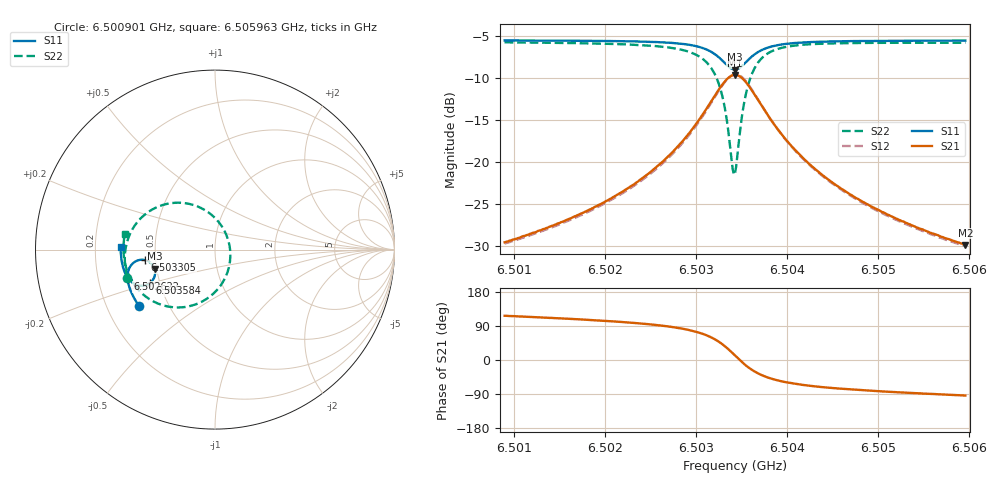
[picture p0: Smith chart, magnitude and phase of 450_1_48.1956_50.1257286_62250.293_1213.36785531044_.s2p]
#  HZ  S  RI  R  50.00
! Rohde & Schwarz Vector Network Analyzer
! Rohde-Schwarz,ZNB20-2Port,1311601062101988,3.16
! Created: UTC 3/20/2024, 11:56:12 AM
! freq[Hz]  re:S11  im:S11  re:S21  im:S21  re:S12  im:S12  re:S22  im:S22
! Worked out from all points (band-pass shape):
!   401 points, 6.500901 GHz to 6.505963 GHz, reference 50 ohm
!   highest |S21| = -9.66 dB at 6.503432 GHz (marker M1); lowest = -29.9 dB at 6.505963 GHz (marker M2)
!   |S21| within 3 dB of the highest: 6.503179 GHz to 6.503685 GHz (506.1 kHz wide, 0.00778 % of centre)
!   lowest |S11| = -9.0 dB at 6.503432 GHz (marker M3), VSWR 2.09, Z = 24.3 - j5.94 ohm
!   |S11| at or under -10 dB: nowhere
!   |S22| runs from -21.5 to -5.8 dB; largest |S21 - S12| = 0.011
!   S11 on the Smith chart (normalised r, x): 6.500901 GHz: 0.34, -0.29; 6.502622 GHz: 0.33, -0.15; 6.503305 GHz: 0.44, -0.06; 6.503584 GHz: 0.44, -0.20; 6.505963 GHz: 0.31, +0.01
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6.5009009e9  -0.4241 -0.312  -0.0149 0.0297  -0.0133 0.0299  -0.4878 -0.1596
6.5017488e9  -0.461 -0.2499  -0.0144 0.0473  -0.012 0.0469  -0.5021 -0.0701
6.5022043e9  -0.4771 -0.2097  -0.0115 0.0658  -0.0087 0.0649  -0.4996 -0.00635
6.5025966e9  -0.4867 -0.1668  -0.00261 0.0959  0.00104 0.0937  -0.4805 0.0707
6.5026219e9  -0.487 -0.1636  -0.00144 0.0987  0.00217 0.0963  -0.4782 0.077
6.5029129e9  -0.4833 -0.1191  0.0254 0.1424  0.0292 0.138  -0.422 0.1659
6.5031027e9  -0.4622 -0.0808  0.0793 0.1845  0.0818 0.1782  -0.3191 0.2383
6.5032166e9  -0.4299 -0.0602  0.1479 0.2021  0.1489 0.1958  -0.1956 0.2612
6.5033052e9  -0.3896 -0.0583  0.2272 0.1863  0.2276 0.1814  -0.0588 0.2216
6.5033432e9  -0.3703 -0.0658  0.2636 0.1635  0.2645 0.159  0.00121 0.1751
6.5034064e9  -0.3435 -0.0924  0.3115 0.1  0.3142 0.095  0.0737 0.0528
6.5034318e9  -0.3371 -0.1069  0.3219 0.0678  0.3251 0.0621  0.0849 -0.00725
6.5034571e9  -0.3341 -0.1227  0.3256 0.0339  0.3292 0.0272  0.0831 -0.0686
6.5035203e9  -0.3409 -0.1599  0.3077 -0.044  0.31 -0.0539  0.0284 -0.2041
6.5035836e9  -0.3622 -0.186  0.2651 -0.0984  0.264 -0.1095  -0.0679 -0.2874
6.5036848e9  -0.4017 -0.2014  0.1903 -0.1347  0.1851 -0.1443  -0.2182 -0.3222
6.5038493e9  -0.4479 -0.1919  0.1087 -0.1318  0.1017 -0.1368  -0.3655 -0.2759
6.5040265e9  -0.4755 -0.1704  0.0641 -0.1118  0.0578 -0.1142  -0.4378 -0.2111
6.5042796e9  -0.4962 -0.1406  0.0339 -0.0874  0.0293 -0.0881  -0.4812 -0.1391
6.5046592e9  -0.5117 -0.101  0.0149 -0.0643  0.0117 -0.064  -0.5037 -0.0643
6.5051274e9  -0.521 -0.0579  0.00505 -0.0479  0.00279 -0.0472  -0.5099 0.00148
6.5059626e9  -0.526 0.0128  -0.00215 -0.032  -0.00332 -0.0314  -0.5022 0.0892
